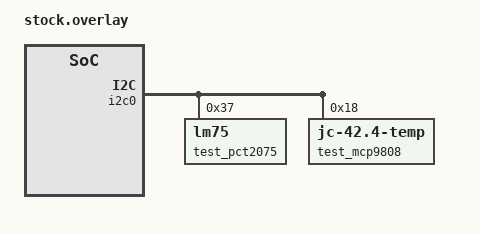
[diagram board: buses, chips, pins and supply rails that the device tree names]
// Build fixture for two external thermometers on the controller's I2C bus.
/ {
    aliases { zt-environment = &test_pct2075; zt-environment-2 = &test_mcp9808; };
};
&i2c0 {
    status = "okay";
    test_pct2075: thermometer@37 { compatible = "lm75"; reg = <0x37>; };
    test_mcp9808: thermometer@18 { compatible = "jedec,jc-42.4-temp"; reg = <0x18>; resolution = <2>; };
};
